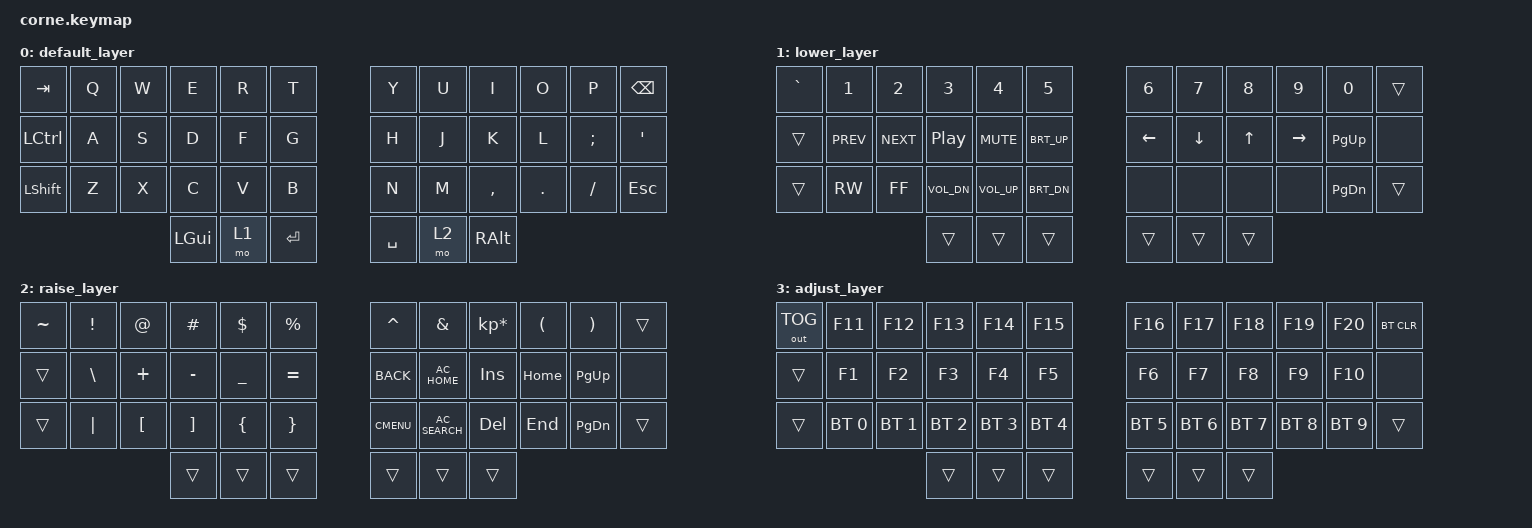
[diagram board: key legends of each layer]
/*
 * Copyright (c) 2020 The ZMK Contributors
 *
 * SPDX-License-Identifier: MIT
 */

#include <behaviors.dtsi>
#include <dt-bindings/zmk/keys.h>
#include <dt-bindings/zmk/bt.h>
#include <dt-bindings/zmk/outputs.h>

#define DEFAULT 0
#define LOWER   1
#define RAISE   2
#define ADJUST  3

/ {
        conditional_layers {
                compatible = "zmk,conditional-layers";

                tri_layer {
                        if-layers = <1 2>;
                        then-layer = <3>;
                };
        };

        keymap {
                compatible = "zmk,keymap";

                default_layer {
// -----------------------------------------------------------------------------------------
// |  TAB |  Q  |  W  |  E  |  R  |  T  |   |  Y  |  U  |  I  |  O  |  P  | BKSP |
// | CTRL |  A  |  S  |  D  |  F  |  G  |   |  H  |  J  |  K  |  L  |  ;  |  '   |
// | SHFT |  Z  |  X  |  C  |  V  |  B  |   |  N  |  M  |  ,  |  .  |  /  | ESC  |
//                    | GUI | LWR | RET |   | SPC | RSE | ALT |
                        bindings = <
   &kp TAB   &kp Q &kp W &kp E    &kp R &kp T      &kp Y     &kp U &kp I     &kp O   &kp P    &kp BSPC
   &kp LCTRL &kp A &kp S &kp D    &kp F &kp G      &kp H     &kp J &kp K     &kp L   &kp SEMI &kp SQT
   &kp LSHFT &kp Z &kp X &kp C    &kp V &kp B      &kp N     &kp M &kp COMMA &kp DOT &kp FSLH &kp ESC
                         &kp LGUI &mo 1 &kp RET    &kp SPACE &mo 2 &kp RALT
                        >;
                };

                lower_layer {
// -----------------------------------------------------------------------------------------
// |  `  |  1   |  2   |  3    |  4    |  5    |   |  6  |  7  |  8  |  9  |  0   | ... |
// | ... | PREV | NEXT | PLAY  | MUTE  | BRTUP |   | LFT | DWN |  UP | RGT | PGUP |     |
// | ... | REW  | FWD  | VOLDN | VOLUP | BRTDN |   | MLC | MRC | MMC |     | PGDN | ... |
//                     | ...   | ...   | ...   |   | ... | ... | ... |
                        bindings = <
   &kp GRAVE &kp N1     &kp N2     &kp N3       &kp N4       &kp N5           &kp N6   &kp N7   &kp N8 &kp N9    &kp N0    &trans
   &trans    &kp C_PREV &kp C_NEXT &kp C_PP     &kp C_MUTE   &kp C_BRT_UP     &kp LEFT &kp DOWN &kp UP &kp RIGHT &kp PG_UP &none 
   &trans    &kp C_RW   &kp C_FF   &kp C_VOL_DN &kp C_VOL_UP &kp C_BRT_DN     &none    &none    &none  &none     &kp PG_DN &trans
                                   &trans       &trans       &trans           &trans   &trans   &trans
                        >;
                };

                raise_layer {
// -----------------------------------------------------------------------------------------
// |  ~  |  !  |  @  |  #  |  $  |  %  |   |  ^  |  &   |  *  |  (  |  )   | ... |
// | ... |  \  |  +  |  -  |  _  |  =  |   | BCK | HOME | INS | HME | PGUP |     |
// | ... | '|' |  [  |  ]  |  {  |  }  |   | MNU | SRCH | DEL | END | PGDN | ... |
//                   | ... | ... | ... |   | ... | ...  | ... |
                        bindings = <
   &kp TILDE &kp EXCL &kp AT    &kp HASH  &kp DLLR  &kp PRCNT   &kp CARET   &kp AMPS        &kp KP_MULTIPLY &kp LPAR &kp RPAR  &trans
   &trans    &kp BSLH &kp PLUS  &kp MINUS &kp UNDER &kp EQUAL   &kp K_BACK  &kp C_AC_HOME   &kp INS         &kp HOME &kp PG_UP &none
   &trans    &kp PIPE &kp LBKT  &kp RBKT  &kp LBRC  &kp RBRC    &kp K_CMENU &kp C_AC_SEARCH &kp DEL         &kp END  &kp PG_DN &trans
                    	        &trans    &trans    &trans      &trans      &trans   &trans
                        >;
                };

                adjust_layer {
// -----------------------------------------------------------------------------------------
// | OUTTOG | F11 | F12 | F13 | F14 | F15 |   | F16 | F17 | F18 | F19 | F20  | BTCLR |
// | ...    | F1  | F2  | F3  | F4  | F5  |   | F6  | F7  | F8  | F9  | F10  |       |
// | ...    | BT1 | BT2 | BT3 | BT4 | BT5 |   | BT6 | BT7 | BT8 | BT9 | BT10 | ...   |
//                      | ... | ... | ... |   | ... | ... | ... |
                        bindings = <
   &out OUT_TOG &kp F11      &kp F12      &kp F13      &kp F14      &kp F15        &kp F16      &kp F17      &kp F18      &kp F19      &kp F20      &bt BT_CLR
   &trans       &kp F1       &kp F2       &kp F3       &kp F4       &kp F5         &kp F6       &kp F7       &kp F8       &kp F9       &kp F10      &none
   &trans       &bt BT_SEL 0 &bt BT_SEL 1 &bt BT_SEL 2 &bt BT_SEL 3 &bt BT_SEL 4   &bt BT_SEL 5 &bt BT_SEL 6 &bt BT_SEL 7 &bt BT_SEL 8 &bt BT_SEL 9 &trans 
                    	                  &trans       &trans       &trans         &trans  &trans  &trans
                        >;
                };
        };
};
